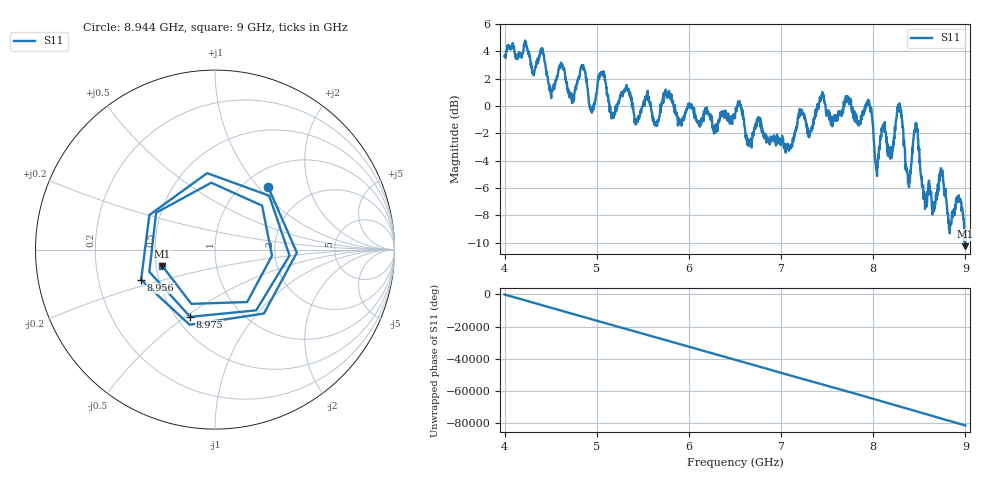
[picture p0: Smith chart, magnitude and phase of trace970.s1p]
! Created with skrf 1.8.0 (http://scikit-rf.org).
# Hz S RI R 50.0
!freq ReS11 ImS11
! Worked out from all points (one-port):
!   1601 points, 4 GHz to 9 GHz, reference 50 ohm
!   lowest |S11| = -10.2 dB at 9 GHz (marker M1), VSWR 1.89, Z = 26.9 - j5.46 ohm
!   |S11| at or under -10 dB: 8.998788 GHz to end of sweep
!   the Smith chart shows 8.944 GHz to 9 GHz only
!   S11 on the Smith chart (normalised r, x): 8.944 GHz: 1.28, +1.13; 8.956 GHz: 0.40, -0.17; 8.975 GHz: 0.59, -0.52; 9 GHz: 0.54, -0.11
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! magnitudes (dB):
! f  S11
! 4 GHz  3.7
! 4.403 GHz  4.1
! 4.512 GHz  1.1
! 4.625 GHz  3.1
! 4.728 GHz  0.5
! 4.847 GHz  3.0
! 4.941 GHz  -0.2
! 5.05 GHz  2.5
! 5.162 GHz  -0.9
! 5.25 GHz  0.6
! 5.875 GHz  -0.8
! 6.5 GHz  -0.9
! 7.125 GHz  -2.5
! 7.438 GHz  0.7
! 7.75 GHz  0.2
! 7.956 GHz  0.3
! 8.038 GHz  -4.7
! 8.109 GHz  -1.3
! 8.197 GHz  -3.4
! 8.284 GHz  0.2
! 8.375 GHz  -5.1
! 8.462 GHz  -1.2
! 8.559 GHz  -6.8
! 8.738 GHz  -4.8
! 8.944 GHz  -6.8
! 8.956 GHz  -7.0
! 8.975 GHz  -8.0
! 9 GHz  -10.2
